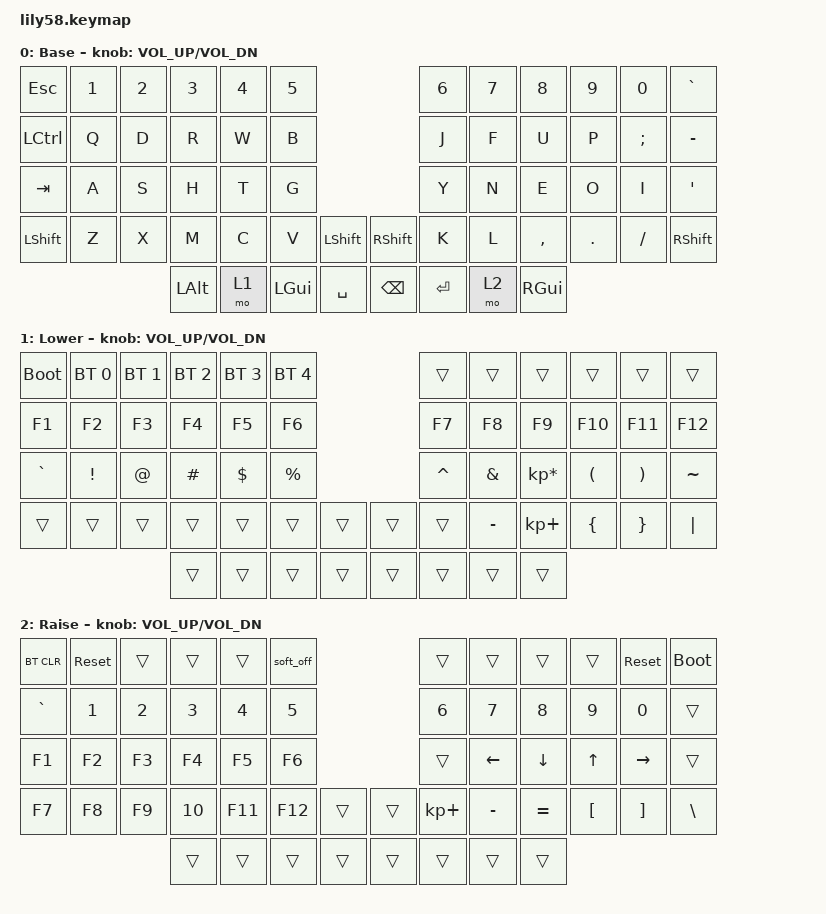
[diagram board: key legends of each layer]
/*
 * Copyright (c) 2020 The ZMK Contributors
 *
 * SPDX-License-Identifier: MIT
 */

#include <behaviors.dtsi>
#include <dt-bindings/zmk/keys.h>
#include <dt-bindings/zmk/bt.h>
#include <dt-bindings/zmk/ext_power.h>



// soft off hold
&soft_off {
    hold-time-ms = <3000>;
};
    
/ {
    keymap {
        compatible = "zmk,keymap";

        default_layer {
// ------------------------------------------------------------------------------------------------------------
// |  ESC  |  1  |  2  |  3   |  4   |  5   |                   |  6   |  7    |  8    |  9   |   0   |   `   |
// |  CTRL |  Q  |  D  |  R   |  W   |  B   |                   |  J   |  F    |  U    |  P   |   ;   |   -   |
// |  TAB  |  A  |  S  |  H   |  T   |  G   |                   |  Y   |  N    |  E    |  O   |   I   |   '   |
// | SHIFT |  Z  |  X  |  M   |  C   |  V   |  SHIFT |   |SHIFT |  K   |  L    |  ,    |  .   |   /   | SHIFT |
//                     | ALT  |LOWER | LGUI |  SPACE |   | BSPC | ENTER| RAISE | RGUI  |
            display-name = "Base";
            bindings = <
&kp ESC    &kp N1  &kp N2  &kp N3    &kp N4  &kp N5                            &kp N6   &kp N7  &kp N8     &kp N9   &kp N0    &kp GRAVE
&kp LCTRL  &kp Q   &kp D   &kp R     &kp W   &kp B                             &kp J    &kp F   &kp U      &kp P    &kp SEMI  &kp MINUS
&kp TAB    &kp A   &kp S   &kp H     &kp T   &kp G                             &kp Y    &kp N   &kp E      &kp O    &kp I     &kp SQT
&kp LSHFT  &kp Z   &kp X   &kp M     &kp C   &kp V      &kp LSHFT   &kp RSHFT  &kp K    &kp L   &kp COMMA  &kp DOT  &kp FSLH  &kp RSHFT
                           &kp LALT  &mo 1   &kp LGUI   &kp SPACE   &kp BSPC   &kp RET  &mo 2   &kp RGUI
            >;

            sensor-bindings = <&inc_dec_kp C_VOL_UP C_VOL_DN>;
        };

        lower_layer {
// ------------------------------------------------------------------------------------------------------------
// | BTLDR | BT1 | BT2 |  BT3 |  BT4 |  BT5 |                   |      |       |       |      |       |       |
// |  F1   |  F2 |  F3 |  F4  |  F5  |  F6  |                   |  F7  |  F8   |  F9   |  F10 |  F11  |  F12  |
// |   `   |  !  |  @  |  #   |  $   |  %   |                   |  ^   |  &    |  *    |  (   |   )   |   ~   |
// |       |     |     |      |      |      |        |  |       |      |  _    |  +    |  {   |   }   |  "|"  |
//                     |      |      |      |        |  |       |      |       |       |
            display-name = "Lower";
            bindings = <
&bootloader  &bt BT_SEL 0  &bt BT_SEL 1  &bt BT_SEL 2  &bt BT_SEL 3  &bt BT_SEL 4                     &trans     &trans     &trans           &trans    &trans    &trans
&kp F1       &kp F2        &kp F3        &kp F4        &kp F5        &kp F6                           &kp F7     &kp F8     &kp F9           &kp F10   &kp F11   &kp F12
&kp GRAVE    &kp EXCL      &kp AT        &kp HASH      &kp DOLLAR    &kp PRCNT                        &kp CARET  &kp AMPS   &kp KP_MULTIPLY  &kp LPAR  &kp RPAR  &kp TILDE
&trans       &trans        &trans        &trans        &trans        &trans        &trans   &trans    &trans     &kp MINUS  &kp KP_PLUS      &kp LBRC  &kp RBRC  &kp PIPE
                                         &trans        &trans        &trans        &trans   &trans    &trans     &trans     &trans
            >;

            sensor-bindings = <&inc_dec_kp C_VOL_UP C_VOL_DN>;
        };

        raise_layer {
// ------------------------------------------------------------------------------------------------------------
// | BTCLR | RESET |     |      |      | SOFF |                   |      |       |       |      | RESET | BTLDR |
// |   `   |   1   |  2  |  3   |  4   |  5   |                   |  6   |   7   |   8   |  9   |   0   |       |
// |   F1  |   F2  |  F3 |  F4  |  F5  |  F6  |                   |      |   <-  |   v   |  ^   |  ->   |       |
// |   F7  |   F8  |  F9 |  F10 |  F11 |  F12 |        |  |       |  +   |   -   |   =   |  [   |   ]   |   \   |
//                       |      |      |      |        |  |       |      |       |       |
            display-name = "Raise";
            bindings = <
&bt BT_CLR  &sys_reset  &trans  &trans  &trans   &soft_off                 &trans       &trans     &trans     &trans    &sys_reset  &bootloader
&kp GRAVE   &kp N1      &kp N2  &kp N3  &kp N4   &kp N5                    &kp N6       &kp N7     &kp N8     &kp N9    &kp N0      &trans
&kp F1      &kp F2      &kp F3  &kp F4  &kp F5   &kp F6                    &trans       &kp LEFT   &kp DOWN   &kp UP    &kp RIGHT   &trans
&kp F7      &kp F8      &kp F9  &kp 10  &kp F11  &kp F12  &trans   &trans  &kp KP_PLUS  &kp MINUS  &kp EQUAL  &kp LBKT  &kp RBKT    &kp BSLH
                        &trans  &trans  &trans   &trans   &trans   &trans  &trans      &trans
            >;

            sensor-bindings = <&inc_dec_kp C_VOL_UP C_VOL_DN>;
        };

        extra_1 {
            status = "reserved";
        };

        extra_2 {
            status = "reserved";
        };

        extra_3 {
            status = "reserved";
        };
    };
};
